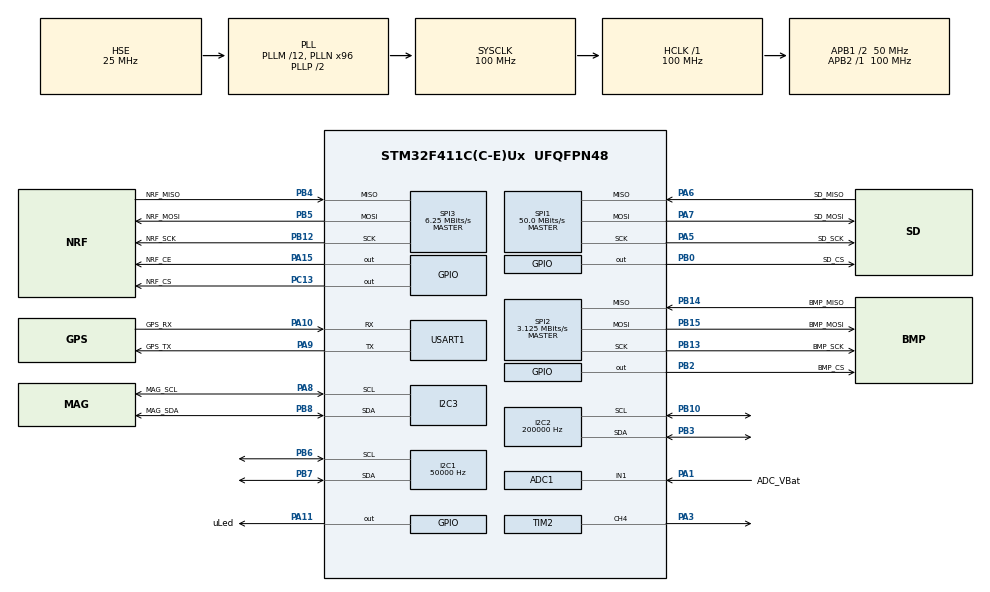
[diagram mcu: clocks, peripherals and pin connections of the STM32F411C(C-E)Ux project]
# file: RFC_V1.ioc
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ADC1.Channel-0\#ChannelRegularConversion=ADC_CHANNEL_1
ADC1.NbrOfConversionFlag=1
ADC1.Rank-0\#ChannelRegularConversion=1
ADC1.SamplingTime-0\#ChannelRegularConversion=ADC_SAMPLETIME_3CYCLES
ADC1.master=1
Dma.Request0=SPI2_RX
Dma.Request1=SPI3_RX
Dma.Request2=SPI3_TX
Dma.SPI2_RX.0.Direction=DMA_PERIPH_TO_MEMORY
Dma.SPI2_RX.0.FIFOMode=DMA_FIFOMODE_DISABLE
Dma.SPI2_RX.0.Instance=DMA1_Stream3
Dma.SPI2_RX.0.MemDataAlignment=DMA_MDATAALIGN_BYTE
Dma.SPI2_RX.0.MemInc=DMA_MINC_ENABLE
Dma.SPI2_RX.0.Mode=DMA_NORMAL
Dma.SPI2_RX.0.PeriphDataAlignment=DMA_PDATAALIGN_BYTE
Dma.SPI2_RX.0.PeriphInc=DMA_PINC_DISABLE
Dma.SPI2_RX.0.Priority=DMA_PRIORITY_LOW
Dma.SPI3_RX.1.Direction=DMA_PERIPH_TO_MEMORY
Dma.SPI3_RX.1.FIFOMode=DMA_FIFOMODE_DISABLE
Dma.SPI3_RX.1.Instance=DMA1_Stream0
Dma.SPI3_RX.1.MemDataAlignment=DMA_MDATAALIGN_BYTE
Dma.SPI3_RX.1.MemInc=DMA_MINC_ENABLE
Dma.SPI3_RX.1.Mode=DMA_NORMAL
Dma.SPI3_RX.1.PeriphDataAlignment=DMA_PDATAALIGN_BYTE
Dma.SPI3_RX.1.PeriphInc=DMA_PINC_DISABLE
Dma.SPI3_RX.1.Priority=DMA_PRIORITY_HIGH
Dma.SPI3_TX.2.Direction=DMA_MEMORY_TO_PERIPH
Dma.SPI3_TX.2.FIFOMode=DMA_FIFOMODE_DISABLE
Dma.SPI3_TX.2.Instance=DMA1_Stream5
Dma.SPI3_TX.2.MemDataAlignment=DMA_MDATAALIGN_BYTE
Dma.SPI3_TX.2.MemInc=DMA_MINC_ENABLE
Dma.SPI3_TX.2.Mode=DMA_NORMAL
Dma.SPI3_TX.2.PeriphDataAlignment=DMA_PDATAALIGN_BYTE
Dma.SPI3_TX.2.PeriphInc=DMA_PINC_DISABLE
Dma.SPI3_TX.2.Priority=DMA_PRIORITY_HIGH
FATFS._FS_RPATH=1
FREERTOS.Tasks01=defaultTask,0,128,StartDefaultTask,Default,NULL,Dynamic,NULL,NULL
I2C1.ClockSpeed=50000
I2C1.I2C_Mode=I2C_Standard
I2C2.ClockSpeed=200000
I2C2.I2C_Mode=I2C_Fast
Mcu.Family=STM32F4
Mcu.Name=STM32F411C(C-E)Ux
Mcu.Package=UFQFPN48
NVIC.DMA1_Stream0_IRQn=true\:5\:0\:false\:false\:true\:true\:false\:true\:true
NVIC.DMA1_Stream3_IRQn=true\:5\:0\:false\:false\:true\:true\:false\:true\:true
NVIC.DMA1_Stream5_IRQn=true\:5\:0\:false\:false\:true\:true\:false\:true\:true
NVIC.PriorityGroup=NVIC_PRIORITYGROUP_4
NVIC.SPI2_IRQn=true\:5\:0\:false\:false\:true\:true\:true\:true\:true
NVIC.TIM1_TRG_COM_TIM11_IRQn=true\:15\:0\:false\:false\:true\:false\:false\:true\:true
NVIC.TIM5_IRQn=true\:5\:0\:false\:false\:true\:true\:true\:true\:true
NVIC.TimeBase=TIM1_TRG_COM_TIM11_IRQn
NVIC.TimeBaseIP=TIM11
PA1.GPIO_Label=ADC_VBat
PA1.Signal=ADCx_IN1
PA10.GPIO_Label=GPS_RX
PA10.Mode=Asynchronous
PA10.Signal=USART1_RX
PA11.GPIO_Label=uLed
PA11.Signal=GPIO_Output
PA13.Mode=Serial_Wire
PA13.Signal=SYS_JTMS-SWDIO
PA14.Mode=Serial_Wire
PA14.Signal=SYS_JTCK-SWCLK
PA15.GPIO_Label=NRF_CE
PA15.GPIO_Speed=GPIO_SPEED_FREQ_HIGH
PA15.Signal=GPIO_Output
PA3.Signal=S_TIM2_CH4
PA5.GPIO_Label=SD_SCK
PA5.Mode=Full_Duplex_Master
PA5.Signal=SPI1_SCK
PA6.GPIO_Label=SD_MISO
PA6.Mode=Full_Duplex_Master
PA6.Signal=SPI1_MISO
PA7.GPIO_Label=SD_MOSI
PA7.Mode=Full_Duplex_Master
PA7.Signal=SPI1_MOSI
PA8.GPIO_Label=MAG_SCL
PA8.Mode=I2C
PA8.Signal=I2C3_SCL
PA9.GPIO_Label=GPS_TX
PA9.Mode=Asynchronous
PA9.Signal=USART1_TX
PB0.GPIO_Label=SD_CS
PB0.Signal=GPIO_Output
PB10.GPIO_Mode=GPIO_MODE_AF_OD
PB10.GPIO_Pu=GPIO_NOPULL
PB10.GPIO_Speed=GPIO_SPEED_FREQ_VERY_HIGH
PB10.Mode=I2C
PB10.Signal=I2C2_SCL
PB12.GPIO_Label=NRF_SCK
PB12.Mode=Full_Duplex_Master
PB12.Signal=SPI3_SCK
PB13.GPIO_Label=BMP_SCK
PB13.Mode=Full_Duplex_Master
PB13.Signal=SPI2_SCK
PB14.GPIO_Label=BMP_MISO
PB14.Mode=Full_Duplex_Master
PB14.Signal=SPI2_MISO
PB15.GPIO_Label=BMP_MOSI
PB15.Mode=Full_Duplex_Master
PB15.Signal=SPI2_MOSI
PB2.GPIO_Label=BMP_CS
PB2.Signal=GPIO_Output
PB3.GPIO_Mode=GPIO_MODE_AF_OD
PB3.GPIO_Pu=GPIO_NOPULL
PB3.GPIO_Speed=GPIO_SPEED_FREQ_VERY_HIGH
PB3.Mode=I2C
PB3.Signal=I2C2_SDA
PB4.GPIO_Label=NRF_MISO
PB4.Mode=Full_Duplex_Master
PB4.Signal=SPI3_MISO
PB5.GPIO_Label=NRF_MOSI
PB5.Mode=Full_Duplex_Master
PB5.Signal=SPI3_MOSI
PB6.GPIO_Mode=GPIO_MODE_AF_OD
PB6.GPIO_Pu=GPIO_NOPULL
PB6.GPIO_Speed=GPIO_SPEED_FREQ_VERY_HIGH
PB6.Mode=I2C
PB6.Signal=I2C1_SCL
PB7.GPIO_Mode=GPIO_MODE_AF_OD
PB7.GPIO_Pu=GPIO_NOPULL
PB7.GPIO_Speed=GPIO_SPEED_FREQ_VERY_HIGH
PB7.Mode=I2C
PB7.Signal=I2C1_SDA
PB8.GPIO_Label=MAG_SDA
PB8.Mode=I2C
PB8.Signal=I2C3_SDA
PC13-ANTI_TAMP.GPIO_Label=NRF_CS
PC13-ANTI_TAMP.Signal=GPIO_Output
PH0\ -\ OSC_IN.Mode=HSE-External-Oscillator
PH0\ -\ OSC_IN.Signal=RCC_OSC_IN
PH1\ -\ OSC_OUT.Mode=HSE-External-Oscillator
PH1\ -\ OSC_OUT.Signal=RCC_OSC_OUT
ProjectManager.HeapSize=0x200
ProjectManager.StackSize=0x400
ProjectManager.TargetToolchain=STM32CubeIDE
RCC.48MHZClocksFreq_Value=50000000
RCC.AHBFreq_Value=100000000
RCC.APB1CLKDivider=RCC_HCLK_DIV2
RCC.APB1Freq_Value=50000000
RCC.APB1TimFreq_Value=100000000
RCC.APB2Freq_Value=100000000
RCC.APB2TimFreq_Value=100000000
RCC.CortexFreq_Value=100000000
RCC.HCLKFreq_Value=100000000
RCC.HSE_VALUE=25000000
RCC.HSI_VALUE=16000000
RCC.LSE_VALUE=32768
RCC.PLLM=12
RCC.PLLN=96
RCC.PLLSourceVirtual=RCC_PLLSOURCE_HSE
RCC.SYSCLKFreq_VALUE=100000000
RCC.SYSCLKSource=RCC_SYSCLKSOURCE_PLLCLK
RCC.VCOOutputFreq_Value=200000000
SH.ADCx_IN1.0=ADC1_IN1,IN1
SH.S_TIM2_CH4.0=TIM2_CH4,PWM Generation4 CH4
SPI1.CalculateBaudRate=50.0 MBits/s
SPI1.Direction=SPI_DIRECTION_2LINES
SPI1.Mode=SPI_MODE_MASTER
SPI1.VirtualType=VM_MASTER
SPI2.BaudRatePrescaler=SPI_BAUDRATEPRESCALER_16
SPI2.CalculateBaudRate=3.125 MBits/s
SPI2.Direction=SPI_DIRECTION_2LINES
SPI2.Mode=SPI_MODE_MASTER
SPI2.VirtualType=VM_MASTER
SPI3.BaudRatePrescaler=SPI_BAUDRATEPRESCALER_8
SPI3.CalculateBaudRate=6.25 MBits/s
SPI3.Direction=SPI_DIRECTION_2LINES
SPI3.Mode=SPI_MODE_MASTER
SPI3.VirtualType=VM_MASTER
TIM2.AutoReloadPreload=TIM_AUTORELOAD_PRELOAD_ENABLE
TIM2.Channel-PWM\ Generation4\ CH4=TIM_CHANNEL_4
TIM2.Period=7000
TIM2.Prescaler=99
TIM5.Period=100-1
TIM5.Prescaler=1000-1
USART1.VirtualMode=VM_ASYNC
VP_FATFS_VS_Generic.Mode=User_defined
VP_FREERTOS_VS_CMSIS_V1.Mode=CMSIS_V1
VP_SYS_VS_tim11.Mode=TIM11
VP_TIM2_VS_ClockSourceINT.Mode=Internal
VP_TIM5_VS_ClockSourceINT.Mode=Internal
board=custom

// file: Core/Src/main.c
/* USER CODE BEGIN Header */
/**
  ******************************************************************************
  * @file           : main.c
  * @brief          : Main program body
  ******************************************************************************
  * @attention
  *
  * Copyright (c) 2024 STMicroelectronics.
  * All rights reserved.
  *
  * This software is licensed under terms that can be found in the LICENSE file
  * in the root directory of this software component.
  * If no LICENSE file comes with this software, it is provided AS-IS.
  *
  ******************************************************************************
  */
/* USER CODE END Header */
#include "main.h"
#include "cmsis_os.h"
#include "fatfs.h"

/* USER CODE BEGIN Includes */
#include "Modules/BlackBox/blackbox.h"
/* USER CODE END Includes */

ADC_HandleTypeDef hadc1;

I2C_HandleTypeDef hi2c1;
I2C_HandleTypeDef hi2c2;
I2C_HandleTypeDef hi2c3;

SPI_HandleTypeDef hspi1;
SPI_HandleTypeDef hspi2;
SPI_HandleTypeDef hspi3;
DMA_HandleTypeDef hdma_spi2_rx;
DMA_HandleTypeDef hdma_spi3_rx;
DMA_HandleTypeDef hdma_spi3_tx;

TIM_HandleTypeDef htim2;
TIM_HandleTypeDef htim5;

UART_HandleTypeDef huart1;

osThreadId defaultTaskHandle;

void SystemClock_Config(void);
static void MX_GPIO_Init(void);
static void MX_DMA_Init(void);
static void MX_ADC1_Init(void);
static void MX_I2C1_Init(void);
static void MX_I2C2_Init(void);
static void MX_I2C3_Init(void);
static void MX_SPI1_Init(void);
static void MX_SPI2_Init(void);
static void MX_SPI3_Init(void);
static void MX_USART1_UART_Init(void);
static void MX_TIM2_Init(void);
static void MX_TIM5_Init(void);
void StartDefaultTask(void const * argument);

int main(void)
{

  /* MCU Configuration--------------------------------------------------------*/

  /* Reset of all peripherals, Initializes the Flash interface and the Systick. */
  HAL_Init();

  /* Configure the system clock */
  SystemClock_Config();

  /* Initialize all configured peripherals */
  MX_GPIO_Init();
  MX_DMA_Init();
  MX_ADC1_Init();
  MX_I2C1_Init();
  MX_I2C2_Init();
  MX_I2C3_Init();
  MX_SPI1_Init();
  MX_SPI2_Init();
  MX_SPI3_Init();
  MX_USART1_UART_Init();
  MX_TIM2_Init();
  MX_TIM5_Init();
  MX_FATFS_Init();
  /* USER CODE BEGIN 2 */
  MEMORY_init();

  TIM2->CCR4 = 1000;
  HAL_TIM_PWM_Start(&htim2, TIM_CHANNEL_4);
  BlackBox_init();
  /* USER CODE END 2 */

  /* Create the thread(s) */
  /* definition and creation of defaultTask */
  osThreadDef(defaultTask, StartDefaultTask, osPriorityNormal, 0, 128);
  defaultTaskHandle = osThreadCreate(osThread(defaultTask), NULL);

  /* Start scheduler */
  osKernelStart();

  /* We should never get here as control is now taken by the scheduler */

  /* Infinite loop */
  while (1)
  {

  }
}

void SystemClock_Config(void)
{
  RCC_OscInitTypeDef RCC_OscInitStruct = {0};
  RCC_ClkInitTypeDef RCC_ClkInitStruct = {0};

  /** Configure the main internal regulator output voltage
  */
  __HAL_RCC_PWR_CLK_ENABLE();
  __HAL_PWR_VOLTAGESCALING_CONFIG(PWR_REGULATOR_VOLTAGE_SCALE1);

  /** Initializes the RCC Oscillators according to the specified parameters
  * in the RCC_OscInitTypeDef structure.
  */
  RCC_OscInitStruct.OscillatorType = RCC_OSCILLATORTYPE_HSE;
  RCC_OscInitStruct.HSEState = RCC_HSE_ON;
  RCC_OscInitStruct.PLL.PLLState = RCC_PLL_ON;
  RCC_OscInitStruct.PLL.PLLSource = RCC_PLLSOURCE_HSE;
  RCC_OscInitStruct.PLL.PLLM = 12;
  RCC_OscInitStruct.PLL.PLLN = 96;
  RCC_OscInitStruct.PLL.PLLP = RCC_PLLP_DIV2;
  RCC_OscInitStruct.PLL.PLLQ = 4;
  if (HAL_RCC_OscConfig(&RCC_OscInitStruct) != HAL_OK)
  {
    Error_Handler();
  }

  /** Initializes the CPU, AHB and APB buses clocks
  */
  RCC_ClkInitStruct.ClockType = RCC_CLOCKTYPE_HCLK|RCC_CLOCKTYPE_SYSCLK
                              |RCC_CLOCKTYPE_PCLK1|RCC_CLOCKTYPE_PCLK2;
  RCC_ClkInitStruct.SYSCLKSource = RCC_SYSCLKSOURCE_PLLCLK;
  RCC_ClkInitStruct.AHBCLKDivider = RCC_SYSCLK_DIV1;
  RCC_ClkInitStruct.APB1CLKDivider = RCC_HCLK_DIV2;
  RCC_ClkInitStruct.APB2CLKDivider = RCC_HCLK_DIV1;

  if (HAL_RCC_ClockConfig(&RCC_ClkInitStruct, FLASH_LATENCY_3) != HAL_OK)
  {
    Error_Handler();
  }
}

static void MX_ADC1_Init(void)
{

  ADC_ChannelConfTypeDef sConfig = {0};

  /** Configure the global features of the ADC (Clock, Resolution, Data Alignment and number of conversion)
  */
  hadc1.Instance = ADC1;
  hadc1.Init.ClockPrescaler = ADC_CLOCK_SYNC_PCLK_DIV4;
  hadc1.Init.Resolution = ADC_RESOLUTION_12B;
  hadc1.Init.ScanConvMode = DISABLE;
  hadc1.Init.ContinuousConvMode = DISABLE;
  hadc1.Init.DiscontinuousConvMode = DISABLE;
  hadc1.Init.ExternalTrigConvEdge = ADC_EXTERNALTRIGCONVEDGE_NONE;
  hadc1.Init.ExternalTrigConv = ADC_SOFTWARE_START;
  hadc1.Init.DataAlign = ADC_DATAALIGN_RIGHT;
  hadc1.Init.NbrOfConversion = 1;
  hadc1.Init.DMAContinuousRequests = DISABLE;
  hadc1.Init.EOCSelection = ADC_EOC_SINGLE_CONV;
  if (HAL_ADC_Init(&hadc1) != HAL_OK)
  {
    Error_Handler();
  }

  /** Configure for the selected ADC regular channel its corresponding rank in the sequencer and its sample time.
  */
  sConfig.Channel = ADC_CHANNEL_1;
  sConfig.Rank = 1;
  sConfig.SamplingTime = ADC_SAMPLETIME_3CYCLES;
  if (HAL_ADC_ConfigChannel(&hadc1, &sConfig) != HAL_OK)
  {
    Error_Handler();
  }

}

static void MX_I2C1_Init(void)
{

  hi2c1.Instance = I2C1;
  hi2c1.Init.ClockSpeed = 50000;
  hi2c1.Init.DutyCycle = I2C_DUTYCYCLE_2;
  hi2c1.Init.OwnAddress1 = 0;
  hi2c1.Init.AddressingMode = I2C_ADDRESSINGMODE_7BIT;
  hi2c1.Init.DualAddressMode = I2C_DUALADDRESS_DISABLE;
  hi2c1.Init.OwnAddress2 = 0;
  hi2c1.Init.GeneralCallMode = I2C_GENERALCALL_DISABLE;
  hi2c1.Init.NoStretchMode = I2C_NOSTRETCH_DISABLE;
  if (HAL_I2C_Init(&hi2c1) != HAL_OK)
  {
    Error_Handler();
  }

}

static void MX_I2C2_Init(void)
{

  hi2c2.Instance = I2C2;
  hi2c2.Init.ClockSpeed = 200000;
  hi2c2.Init.DutyCycle = I2C_DUTYCYCLE_2;
  hi2c2.Init.OwnAddress1 = 0;
  hi2c2.Init.AddressingMode = I2C_ADDRESSINGMODE_7BIT;
  hi2c2.Init.DualAddressMode = I2C_DUALADDRESS_DISABLE;
  hi2c2.Init.OwnAddress2 = 0;
  hi2c2.Init.GeneralCallMode = I2C_GENERALCALL_DISABLE;
  hi2c2.Init.NoStretchMode = I2C_NOSTRETCH_DISABLE;
  if (HAL_I2C_Init(&hi2c2) != HAL_OK)
  {
    Error_Handler();
  }

}

static void MX_I2C3_Init(void)
{

  hi2c3.Instance = I2C3;
  hi2c3.Init.ClockSpeed = 100000;
  hi2c3.Init.DutyCycle = I2C_DUTYCYCLE_2;
  hi2c3.Init.OwnAddress1 = 0;
  hi2c3.Init.AddressingMode = I2C_ADDRESSINGMODE_7BIT;
  hi2c3.Init.DualAddressMode = I2C_DUALADDRESS_DISABLE;
  hi2c3.Init.OwnAddress2 = 0;
  hi2c3.Init.GeneralCallMode = I2C_GENERALCALL_DISABLE;
  hi2c3.Init.NoStretchMode = I2C_NOSTRETCH_DISABLE;
  if (HAL_I2C_Init(&hi2c3) != HAL_OK)
  {
    Error_Handler();
  }

}

static void MX_SPI1_Init(void)
{

  /* SPI1 parameter configuration*/
  hspi1.Instance = SPI1;
  hspi1.Init.Mode = SPI_MODE_MASTER;
  hspi1.Init.Direction = SPI_DIRECTION_2LINES;
  hspi1.Init.DataSize = SPI_DATASIZE_8BIT;
  hspi1.Init.CLKPolarity = SPI_POLARITY_LOW;
  hspi1.Init.CLKPhase = SPI_PHASE_1EDGE;
  hspi1.Init.NSS = SPI_NSS_SOFT;
  hspi1.Init.BaudRatePrescaler = SPI_BAUDRATEPRESCALER_2;
  hspi1.Init.FirstBit = SPI_FIRSTBIT_MSB;
  hspi1.Init.TIMode = SPI_TIMODE_DISABLE;
  hspi1.Init.CRCCalculation = SPI_CRCCALCULATION_DISABLE;
  hspi1.Init.CRCPolynomial = 10;
  if (HAL_SPI_Init(&hspi1) != HAL_OK)
  {
    Error_Handler();
  }

}

static void MX_SPI2_Init(void)
{

  /* SPI2 parameter configuration*/
  hspi2.Instance = SPI2;
  hspi2.Init.Mode = SPI_MODE_MASTER;
  hspi2.Init.Direction = SPI_DIRECTION_2LINES;
  hspi2.Init.DataSize = SPI_DATASIZE_8BIT;
  hspi2.Init.CLKPolarity = SPI_POLARITY_LOW;
  hspi2.Init.CLKPhase = SPI_PHASE_1EDGE;
  hspi2.Init.NSS = SPI_NSS_SOFT;
  hspi2.Init.BaudRatePrescaler = SPI_BAUDRATEPRESCALER_16;
  hspi2.Init.FirstBit = SPI_FIRSTBIT_MSB;
  hspi2.Init.TIMode = SPI_TIMODE_DISABLE;
  hspi2.Init.CRCCalculation = SPI_CRCCALCULATION_DISABLE;
  hspi2.Init.CRCPolynomial = 10;
  if (HAL_SPI_Init(&hspi2) != HAL_OK)
  {
    Error_Handler();
  }

}

static void MX_SPI3_Init(void)
{

  /* SPI3 parameter configuration*/
  hspi3.Instance = SPI3;
  hspi3.Init.Mode = SPI_MODE_MASTER;
  hspi3.Init.Direction = SPI_DIRECTION_2LINES;
  hspi3.Init.DataSize = SPI_DATASIZE_8BIT;
  hspi3.Init.CLKPolarity = SPI_POLARITY_LOW;
  hspi3.Init.CLKPhase = SPI_PHASE_1EDGE;
  hspi3.Init.NSS = SPI_NSS_SOFT;
  hspi3.Init.BaudRatePrescaler = SPI_BAUDRATEPRESCALER_8;
  hspi3.Init.FirstBit = SPI_FIRSTBIT_MSB;
  hspi3.Init.TIMode = SPI_TIMODE_DISABLE;
  hspi3.Init.CRCCalculation = SPI_CRCCALCULATION_DISABLE;
  hspi3.Init.CRCPolynomial = 10;
  if (HAL_SPI_Init(&hspi3) != HAL_OK)
  {
    Error_Handler();
  }

}

static void MX_TIM2_Init(void)
{

  TIM_ClockConfigTypeDef sClockSourceConfig = {0};
  TIM_MasterConfigTypeDef sMasterConfig = {0};
  TIM_OC_InitTypeDef sConfigOC = {0};

  htim2.Instance = TIM2;
  htim2.Init.Prescaler = 99;
  htim2.Init.CounterMode = TIM_COUNTERMODE_UP;
  htim2.Init.Period = 7000;
  htim2.Init.ClockDivision = TIM_CLOCKDIVISION_DIV1;
  htim2.Init.AutoReloadPreload = TIM_AUTORELOAD_PRELOAD_ENABLE;
  if (HAL_TIM_Base_Init(&htim2) != HAL_OK)
  {
    Error_Handler();
  }
  sClockSourceConfig.ClockSource = TIM_CLOCKSOURCE_INTERNAL;
  if (HAL_TIM_ConfigClockSource(&htim2, &sClockSourceConfig) != HAL_OK)
  {
    Error_Handler();
  }
  if (HAL_TIM_PWM_Init(&htim2) != HAL_OK)
  {
    Error_Handler();
  }
  sMasterConfig.MasterOutputTrigger = TIM_TRGO_RESET;
  sMasterConfig.MasterSlaveMode = TIM_MASTERSLAVEMODE_DISABLE;
  if (HAL_TIMEx_MasterConfigSynchronization(&htim2, &sMasterConfig) != HAL_OK)
  {
    Error_Handler();
  }
  sConfigOC.OCMode = TIM_OCMODE_PWM1;
  sConfigOC.Pulse = 0;
  sConfigOC.OCPolarity = TIM_OCPOLARITY_HIGH;
  sConfigOC.OCFastMode = TIM_OCFAST_DISABLE;
  if (HAL_TIM_PWM_ConfigChannel(&htim2, &sConfigOC, TIM_CHANNEL_4) != HAL_OK)
  {
    Error_Handler();
  }
  HAL_TIM_MspPostInit(&htim2);

}

static void MX_TIM5_Init(void)
{

  TIM_ClockConfigTypeDef sClockSourceConfig = {0};
  TIM_MasterConfigTypeDef sMasterConfig = {0};

  htim5.Instance = TIM5;
  htim5.Init.Prescaler = 1000-1;
  htim5.Init.CounterMode = TIM_COUNTERMODE_UP;
  htim5.Init.Period = 100-1;
  htim5.Init.ClockDivision = TIM_CLOCKDIVISION_DIV1;
  htim5.Init.AutoReloadPreload = TIM_AUTORELOAD_PRELOAD_DISABLE;
  if (HAL_TIM_Base_Init(&htim5) != HAL_OK)
  {
    Error_Handler();
  }
  sClockSourceConfig.ClockSource = TIM_CLOCKSOURCE_INTERNAL;
  if (HAL_TIM_ConfigClockSource(&htim5, &sClockSourceConfig) != HAL_OK)
  {
    Error_Handler();
  }
  sMasterConfig.MasterOutputTrigger = TIM_TRGO_RESET;
  sMasterConfig.MasterSlaveMode = TIM_MASTERSLAVEMODE_DISABLE;
  if (HAL_TIMEx_MasterConfigSynchronization(&htim5, &sMasterConfig) != HAL_OK)
  {
    Error_Handler();
  }

}

static void MX_USART1_UART_Init(void)
{

  huart1.Instance = USART1;
  huart1.Init.BaudRate = 115200;
  huart1.Init.WordLength = UART_WORDLENGTH_8B;
  huart1.Init.StopBits = UART_STOPBITS_1;
  huart1.Init.Parity = UART_PARITY_NONE;
  huart1.Init.Mode = UART_MODE_TX_RX;
  huart1.Init.HwFlowCtl = UART_HWCONTROL_NONE;
  huart1.Init.OverSampling = UART_OVERSAMPLING_16;
  if (HAL_UART_Init(&huart1) != HAL_OK)
  {
    Error_Handler();
  }

}

static void MX_DMA_Init(void)
{

  /* DMA controller clock enable */
  __HAL_RCC_DMA1_CLK_ENABLE();

  /* DMA interrupt init */
  /* DMA1_Stream0_IRQn interrupt configuration */
  HAL_NVIC_SetPriority(DMA1_Stream0_IRQn, 5, 0);
  HAL_NVIC_EnableIRQ(DMA1_Stream0_IRQn);
  /* DMA1_Stream3_IRQn interrupt configuration */
  HAL_NVIC_SetPriority(DMA1_Stream3_IRQn, 5, 0);
  HAL_NVIC_EnableIRQ(DMA1_Stream3_IRQn);
  /* DMA1_Stream5_IRQn interrupt configuration */
  HAL_NVIC_SetPriority(DMA1_Stream5_IRQn, 5, 0);
  HAL_NVIC_EnableIRQ(DMA1_Stream5_IRQn);

}

static void MX_GPIO_Init(void)
{
  GPIO_InitTypeDef GPIO_InitStruct = {0};

  /* GPIO Ports Clock Enable */
  __HAL_RCC_GPIOC_CLK_ENABLE();
  __HAL_RCC_GPIOH_CLK_ENABLE();
  __HAL_RCC_GPIOA_CLK_ENABLE();
  __HAL_RCC_GPIOB_CLK_ENABLE();

  /*Configure GPIO pin Output Level */
  HAL_GPIO_WritePin(NRF_CS_GPIO_Port, NRF_CS_Pin, GPIO_PIN_RESET);

  /*Configure GPIO pin Output Level */
  HAL_GPIO_WritePin(GPIOB, SD_CS_Pin|BMP_CS_Pin, GPIO_PIN_RESET);

  /*Configure GPIO pin Output Level */
  HAL_GPIO_WritePin(GPIOA, uLed_Pin|NRF_CE_Pin, GPIO_PIN_RESET);

  /*Configure GPIO pin : NRF_CS_Pin */
  GPIO_InitStruct.Pin = NRF_CS_Pin;
  GPIO_InitStruct.Mode = GPIO_MODE_OUTPUT_PP;
  GPIO_InitStruct.Pull = GPIO_NOPULL;
  GPIO_InitStruct.Speed = GPIO_SPEED_FREQ_LOW;
  HAL_GPIO_Init(NRF_CS_GPIO_Port, &GPIO_InitStruct);

  /*Configure GPIO pins : PC14 PC15 */
  GPIO_InitStruct.Pin = GPIO_PIN_14|GPIO_PIN_15;
  GPIO_InitStruct.Mode = GPIO_MODE_ANALOG;
  GPIO_InitStruct.Pull = GPIO_NOPULL;
  HAL_GPIO_Init(GPIOC, &GPIO_InitStruct);

  /*Configure GPIO pins : PA0 PA2 PA4 PA12 */
  GPIO_InitStruct.Pin = GPIO_PIN_0|GPIO_PIN_2|GPIO_PIN_4|GPIO_PIN_12;
  GPIO_InitStruct.Mode = GPIO_MODE_ANALOG;
  GPIO_InitStruct.Pull = GPIO_NOPULL;
  HAL_GPIO_Init(GPIOA, &GPIO_InitStruct);

  /*Configure GPIO pins : SD_CS_Pin BMP_CS_Pin */
  GPIO_InitStruct.Pin = SD_CS_Pin|BMP_CS_Pin;
  GPIO_InitStruct.Mode = GPIO_MODE_OUTPUT_PP;
  GPIO_InitStruct.Pull = GPIO_NOPULL;
  GPIO_InitStruct.Speed = GPIO_SPEED_FREQ_LOW;
  HAL_GPIO_Init(GPIOB, &GPIO_InitStruct);

  /*Configure GPIO pins : PB1 PB9 */
  GPIO_InitStruct.Pin = GPIO_PIN_1|GPIO_PIN_9;
  GPIO_InitStruct.Mode = GPIO_MODE_ANALOG;
  GPIO_InitStruct.Pull = GPIO_NOPULL;
  HAL_GPIO_Init(GPIOB, &GPIO_InitStruct);

  /*Configure GPIO pin : uLed_Pin */
  GPIO_InitStruct.Pin = uLed_Pin;
  GPIO_InitStruct.Mode = GPIO_MODE_OUTPUT_PP;
  GPIO_InitStruct.Pull = GPIO_NOPULL;
  GPIO_InitStruct.Speed = GPIO_SPEED_FREQ_LOW;
  HAL_GPIO_Init(uLed_GPIO_Port, &GPIO_InitStruct);

  /*Configure GPIO pin : NRF_CE_Pin */
  GPIO_InitStruct.Pin = NRF_CE_Pin;
  GPIO_InitStruct.Mode = GPIO_MODE_OUTPUT_PP;
  GPIO_InitStruct.Pull = GPIO_NOPULL;
  GPIO_InitStruct.Speed = GPIO_SPEED_FREQ_HIGH;
  HAL_GPIO_Init(NRF_CE_GPIO_Port, &GPIO_InitStruct);

}

void StartDefaultTask(void const * argument)
{
  for(;;)
  {
    osDelay(1);
  }
}

void HAL_TIM_PeriodElapsedCallback(TIM_HandleTypeDef *htim)
{
  if (htim->Instance == TIM11) {
    HAL_IncTick();
  }
}

void Error_Handler(void)
{
  __disable_irq();
  while (1)
  {
  }
}

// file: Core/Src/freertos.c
/* USER CODE BEGIN Header */
/**
  ******************************************************************************
  * File Name          : freertos.c
  * Description        : Code for freertos applications
  ******************************************************************************
  * @attention
  *
  * Copyright (c) 2024 STMicroelectronics.
  * All rights reserved.
  *
  * This software is licensed under terms that can be found in the LICENSE file
  * in the root directory of this software component.
  * If no LICENSE file comes with this software, it is provided AS-IS.
  *
  ******************************************************************************
  */
/* USER CODE END Header */

#include "FreeRTOS.h"
#include "task.h"
#include "main.h"
#include "cmsis_os.h"

/* USER CODE BEGIN Includes */
#include "RTOS/RTOS.h"
/* USER CODE END Includes */

/* USER CODE BEGIN Variables */
float AccelData[3];
float GyroData[3];
/* USER CODE END Variables */
osThreadId Task_5msHandle;
osThreadId Task_10msHandle;
osThreadId Task_50msHandle;
osThreadId Task_100msHandle;
osThreadId Task_500msHandle;
osThreadId Task_1msHandle;

void Task5ms(void const * argument);
void Task10ms(void const * argument);
void Task50ms(void const * argument);
void Task100ms(void const * argument);
void Task500ms(void const * argument);
void Task1ms(void const * argument);

void MX_FREERTOS_Init(void); /* (MISRA C 2004 rule 8.1) */

/* GetIdleTaskMemory prototype (linked to static allocation support) */
void vApplicationGetIdleTaskMemory( StaticTask_t **ppxIdleTaskTCBBuffer, StackType_t **ppxIdleTaskStackBuffer, uint32_t *pulIdleTaskStackSize );

/* USER CODE BEGIN GET_IDLE_TASK_MEMORY */
static StaticTask_t xIdleTaskTCBBuffer;
static StackType_t xIdleStack[configMINIMAL_STACK_SIZE];

void vApplicationGetIdleTaskMemory( StaticTask_t **ppxIdleTaskTCBBuffer, StackType_t **ppxIdleTaskStackBuffer, uint32_t *pulIdleTaskStackSize )
{
  *ppxIdleTaskTCBBuffer = &xIdleTaskTCBBuffer;
  *ppxIdleTaskStackBuffer = &xIdleStack[0];
  *pulIdleTaskStackSize = configMINIMAL_STACK_SIZE;
  /* place for user code */
}
/* USER CODE END GET_IDLE_TASK_MEMORY */

void MX_FREERTOS_Init(void) {

  /* Create the thread(s) */
  /* definition and creation of Task_5ms */
  osThreadDef(Task_5ms, Task5ms, osPriorityNormal, 0, 128);
  Task_5msHandle = osThreadCreate(osThread(Task_5ms), NULL);

  /* definition and creation of Task_10ms */
  osThreadDef(Task_10ms, Task10ms, osPriorityNormal, 0, 128);
  Task_10msHandle = osThreadCreate(osThread(Task_10ms), NULL);

  /* definition and creation of Task_50ms */
  osThreadDef(Task_50ms, Task50ms, osPriorityNormal, 0, 128);
  Task_50msHandle = osThreadCreate(osThread(Task_50ms), NULL);

  /* definition and creation of Task_100ms */
  osThreadDef(Task_100ms, Task100ms, osPriorityNormal, 0, 128);
  Task_100msHandle = osThreadCreate(osThread(Task_100ms), NULL);

  /* definition and creation of Task_500ms */
  osThreadDef(Task_500ms, Task500ms, osPriorityNormal, 0, 128);
  Task_500msHandle = osThreadCreate(osThread(Task_500ms), NULL);

  /* definition and creation of Task_1ms */
  osThreadDef(Task_1ms, Task1ms, osPriorityNormal, 0, 128);
  Task_1msHandle = osThreadCreate(osThread(Task_1ms), NULL);

}

void Task5ms(void const * argument)
{
  /* USER CODE BEGIN Task5ms */
	init_task_5ms();
  /* Infinite loop */
  for(;;)
  {
	task_5ms();
    osDelay(5);
  }
  /* USER CODE END Task5ms */
}

void Task10ms(void const * argument)
{
  /* USER CODE BEGIN Task10ms */
	init_task_10ms();
  /* Infinite loop */
  for(;;)
  {
	task_10ms();
    osDelay(10);
  }
  /* USER CODE END Task10ms */
}

void Task50ms(void const * argument)
{
  /* USER CODE BEGIN Task50ms */
	init_task_50ms();
  /* Infinite loop */
  for(;;)
  {
	task_50ms();
    osDelay(50);
  }
  /* USER CODE END Task50ms */
}

void Task100ms(void const * argument)
{
  /* USER CODE BEGIN Task100ms */
	init_task_100ms();
  /* Infinite loop */
  for(;;)
  {
	task_100ms();
    osDelay(100);
  }
  /* USER CODE END Task100ms */
}

void Task500ms(void const * argument)
{
  /* USER CODE BEGIN Task500ms */
	init_task_500ms();
  /* Infinite loop */
  for(;;)
  {
	task_500ms();
    osDelay(500);
  }
  /* USER CODE END Task500ms */
}

void Task1ms(void const * argument)
{
  /* USER CODE BEGIN Task1ms */
	init_task_1ms();
  /* Infinite loop */
  for(;;)
  {
	task_1ms();
    osDelay(1);
  }
  /* USER CODE END Task1ms */
}
